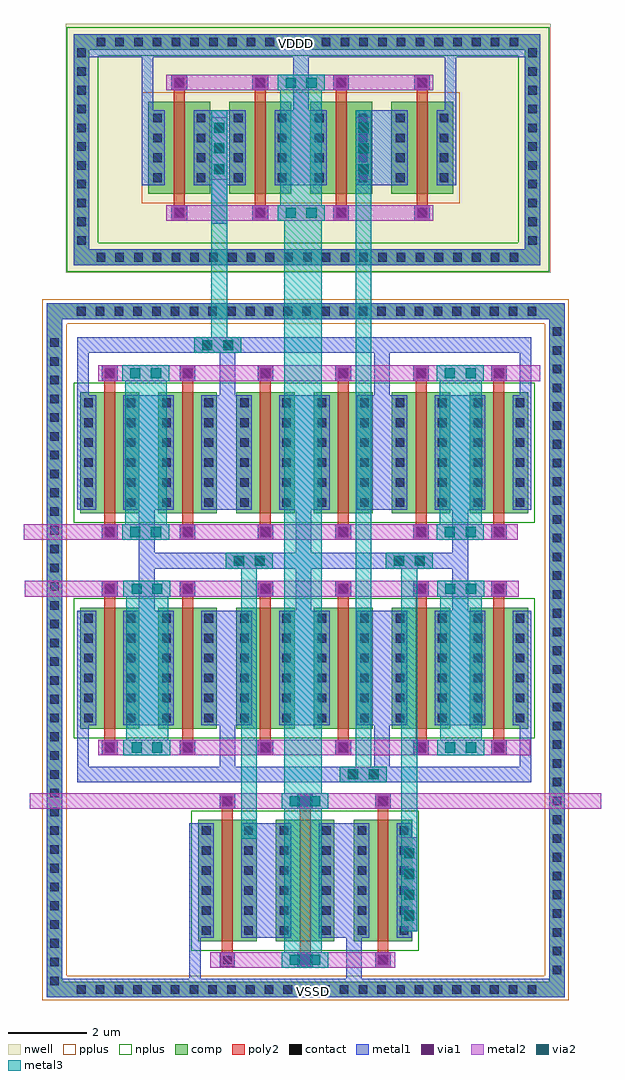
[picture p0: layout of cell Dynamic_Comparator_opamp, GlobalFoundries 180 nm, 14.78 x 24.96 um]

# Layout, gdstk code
import gdstk
lib = gdstk.Library(unit=1e-6, precision=1e-09)
def R(c, l, rs):  # rectangles x0, y0, x1, y1
    for r in rs: c.add(gdstk.rectangle(r[:2], r[2:], *l))
def A(c, l, x, y, w, h, nx, ny, dx, dy):  # array of equal rectangles
    R(c, l, [(x+i*dx, y+j*dy, x+i*dx+w, y+j*dy+h) for i in range(nx) for j in range(ny)])
def P(c, l, *ps):  # polygons
    for p in ps: c.add(gdstk.Polygon(p, *l))
nwell = (21, 0)
comp = (22, 0)
poly2 = (30, 0)
pplus = (31, 0)
nplus = (32, 0)
contact = (33, 0)
metal1 = (34, 0)
via1 = (35, 0)
metal2 = (36, 0)
via2 = (38, 0)
metal3 = (42, 0)

nfet_1 = lib.new_cell('nfet$1')
R(nfet_1, comp, [(-0.42,0,0,3.1), (0,0,0.66,3.1), (0.66,0,1.08,3.1)])
R(nfet_1, poly2, [(0.15,-0.66,0.51,-0.3), (0.19,-0.3,0.47,3.4), (0.15,3.4,0.51,3.76)])
R(nfet_1, nplus, [(-0.59,-0.24,1.25,3.34)])
A(nfet_1, contact, -0.32, 0.165, 0.22, 0.22, 1, 6, 0, 0.51)
A(nfet_1, contact, 0.76, 0.165, 0.22, 0.22, 1, 6, 0, 0.51)
R(nfet_1, contact, [(0.22,-0.59,0.44,-0.37), (0.22,3.47,0.44,3.69)])
R(nfet_1, metal1, [(0.14,-0.671,0.52,-0.289), (-0.4,0.085,-0.02,3.015), (0.68,0.085,1.06,3.015), (0.14,3.389,0.52,3.771)])

pfet_1 = lib.new_cell('pfet$1')
R(pfet_1, nwell, [(-0.9,-0.44,1.56,2.79)])
R(pfet_1, comp, [(-0.46,0,0,2.35), (0,0,0.66,2.35), (0.66,0,1.12,2.35)])
R(pfet_1, poly2, [(0.14,-0.68,0.52,-0.3), (0.19,-0.3,0.47,2.65), (0.14,2.65,0.52,3.03)])
R(pfet_1, pplus, [(-0.63,-0.24,1.29,2.59)])
A(pfet_1, contact, -0.34, 0.3, 0.22, 0.22, 1, 4, 0, 0.51)
A(pfet_1, contact, 0.78, 0.3, 0.22, 0.22, 1, 4, 0, 0.51)
R(pfet_1, contact, [(0.22,-0.6,0.44,-0.38), (0.22,2.73,0.44,2.95)])
R(pfet_1, metal1, [(0.14,-0.681,0.52,-0.299), (-0.42,0.22,-0.04,2.13), (0.7,0.22,1.08,2.13), (0.14,2.649,0.52,3.031)])

via_dev_2 = lib.new_cell('via_dev$2')
R(via_dev_2, poly2, [(0,0,0.4,0.4)])
R(via_dev_2, contact, [(0.09,0.09,0.31,0.31)])
R(via_dev_2, metal1, [(0,0,0.4,0.4)])
R(via_dev_2, via1, [(0.07,0.07,0.33,0.33)])
R(via_dev_2, metal2, [(0,0,0.4,0.4)])

via_dev_3 = lib.new_cell('via_dev$3')
R(via_dev_3, metal2, [(0,0,1.2,0.4)])
R(via_dev_3, via2, [(0.205,0.07,0.465,0.33), (0.735,0.07,0.995,0.33)])
R(via_dev_3, metal3, [(0,0,1.2,0.4)])

via_dev_4 = lib.new_cell('via_dev$4')
R(via_dev_4, comp, [(0,0,12,0.4)])
A(via_dev_4, contact, 0.13, 0.09, 0.22, 0.22, 25, 1, 0.48, 0)
R(via_dev_4, metal1, [(0,0,12,0.4)])

via_dev_5 = lib.new_cell('via_dev$5')
R(via_dev_5, comp, [(0,0,11.15,0.4)])
A(via_dev_5, contact, 0.185, 0.09, 0.22, 0.22, 23, 1, 0.48, 0)
R(via_dev_5, metal1, [(0,0,11.15,0.4)])

via_dev_6 = lib.new_cell('via_dev$6')
R(via_dev_6, metal1, [(0,0,0.4,1.6)])
A(via_dev_6, via1, 0.07, 0.14, 0.26, 0.26, 1, 3, 0, 0.53)
R(via_dev_6, metal2, [(0,0,0.4,1.6)])
A(via_dev_6, via2, 0.07, 0.14, 0.26, 0.26, 1, 3, 0, 0.53)
R(via_dev_6, metal3, [(0,0,0.4,1.6)])

via_dev_7 = lib.new_cell('via_dev$7')
R(via_dev_7, comp, [(0,0,0.4,17)])
A(via_dev_7, contact, 0.09, 0.23, 0.22, 0.22, 1, 35, 0, 0.48)
R(via_dev_7, metal1, [(0,0,0.4,17)])

via_dev_8 = lib.new_cell('via_dev$8')
R(via_dev_8, metal1, [(0,0,0.4,2.4)])
A(via_dev_8, via1, 0.07, 0.275, 0.26, 0.26, 1, 4, 0, 0.53)
R(via_dev_8, metal2, [(0,0,0.4,2.4)])
A(via_dev_8, via2, 0.07, 0.275, 0.26, 0.26, 1, 4, 0, 0.53)
R(via_dev_8, metal3, [(0,0,0.4,2.4)])

via_dev_9 = lib.new_cell('via_dev$9')
R(via_dev_9, metal1, [(0,0,1.2,0.4)])
R(via_dev_9, via1, [(0.205,0.07,0.465,0.33), (0.735,0.07,0.995,0.33)])
R(via_dev_9, metal2, [(0,0,1.2,0.4)])
R(via_dev_9, via2, [(0.205,0.07,0.465,0.33), (0.735,0.07,0.995,0.33)])
R(via_dev_9, metal3, [(0,0,1.2,0.4)])

via_dev_10 = lib.new_cell('via_dev$10')
R(via_dev_10, comp, [(0,0,0.4,5.5)])
A(via_dev_10, contact, 0.09, 0.24, 0.22, 0.22, 1, 11, 0, 0.48)
R(via_dev_10, metal1, [(0,0,0.4,5.5)])

dynamic_comparator_opamp = lib.new_cell('Dynamic_Comparator_opamp')
R(dynamic_comparator_opamp, nwell, [(-1.585,6.52,10.82,12.885)])
R(dynamic_comparator_opamp, comp, [(-2.065,-12,-1.365,-11.6), (10.52,-12,11.18,-11.6), (10.78,-11.99,11.18,-11.41), (-2.065,5.07,-1.665,5.65), (10.78,5.07,11.18,5.65), (-2.065,5.34,-1.36,5.74), (10.52,5.34,11.18,5.74), (-1.38,6.72,-0.9,7.12), (10.14,6.72,10.555,7.12), (10.085,12.485,10.555,12.625), (-1.38,12.5,-0.97,12.625)])
R(dynamic_comparator_opamp, pplus, [(-2.18,-12.07,-1.56,5.845), (-2.16,-12.07,11.285,-11.45), (10.665,-12.07,11.285,5.69), (-2.16,5.225,11.285,5.845), (0.36,8.305,8.49,11.135)])
R(dynamic_comparator_opamp, nplus, [(1.63,-10.805,7.45,-7.225), (-1.375,-5.375,10.415,-1.795), (-1.375,0.135,10.415,3.715), (-1.55,6.55,-0.75,12.805), (-1.46,6.55,10.28,7.29), (9.985,6.55,10.785,12.805), (-1.305,12.075,9.995,12.805)])
A(dynamic_comparator_opamp, metal1, 2.035, -5.05, 0.975, 2.93, 3, 2, 1.99, 5.51)
R(dynamic_comparator_opamp, metal1, [(-2.065,-12,-1.355,-11.6), (-2.065,-12,11.18,-11.525), (10.475,-12,11.18,-11.6), (5.59,-11.9,5.99,-8.84), (1.58,-11.76,1.87,-7.55), (3.035,-10.48,4.01,-7.55), (5.04,-10.48,6.015,-7.55), (-1.285,-6.5,10.32,-6.1), (-1.285,-6.33,-0.995,-2.12), (10.03,-6.33,10.32,-2.12), (2.355,-6.32,2.755,-3.26), (6.3,-6.32,6.7,-3.26), (-0.01,-5.05,0.965,-2.12), (0.025,-5.05,1,-2.12), (8.01,-5.05,8.985,-2.12), (8.01,-5.05,8.985,-2.12), (0.29,-2.39,0.69,0.67), (4.3,-2.39,4.7,0.715), (8.305,-2.39,8.705,0.705), (0.29,-1.04,8.705,-0.64), (-1.285,0.46,-0.995,4.67), (-0.045,0.46,0.93,3.39), (0.025,0.46,1,3.39), (8,0.46,8.975,3.39), (8.01,0.46,8.985,3.39), (10.03,0.46,10.32,4.67), (2.355,1.62,2.755,4.68), (6.3,1.645,6.7,4.705), (-1.285,4.475,10.32,4.875), (-2.065,5.035,-1.665,5.74), (-2.065,5.34,-1.415,5.74), (10.555,5.34,11.18,5.74), (-1.38,6.72,-0.9,7.12), (10.14,6.72,10.555,7.12), (2.145,7.78,2.545,10.635), (0.365,8.765,0.655,12.545), (1.905,8.765,2.88,10.675), (3.93,8.765,4.905,10.675), (6.01,8.765,6.985,10.675), (8.11,8.765,8.4,12.545), (4.235,8.995,4.635,12.49), (-1.38,12.035,10.555,12.625), (10.095,12.49,10.555,12.625), (-1.38,12.495,-0.975,12.625)])
R(dynamic_comparator_opamp, metal2, [(2.115,-11.245,6.84,-10.845), (-0.755,-5.815,10.3,-5.415), (-2.63,-1.755,10.005,-1.355), (-2.66,-0.305,9.98,0.095), (-0.755,3.755,10.55,4.155), (0.99,7.855,7.82,8.255), (0.99,11.185,7.82,11.585)])
P(dynamic_comparator_opamp, metal2, [(-2.5,-7.185),(-2.5,-6.99),(-2.5,-6.785),(12.115,-6.785),(12.115,-7.185)])
R(dynamic_comparator_opamp, metal3, [(4.01,-11.11,4.97,8.465), (2.9,-7.945,3.3,-0.695), (7,-7.945,7.4,-0.695), (5.83,-6.415,6.23,10.675), (-0.03,-5.69,1.04,-1.515), (7.99,-5.69,9.06,-1.515), (-0.065,-0.155,1.005,4.02), (7.98,-0.155,9.05,4.02), (2.145,4.49,2.545,10.675), (3.9,8.055,4.97,11.415)])
dynamic_comparator_opamp.add(gdstk.Reference(nfet_1, (7.175,-5.135)))
dynamic_comparator_opamp.add(gdstk.Reference(nfet_1, (9.165,-5.135)))
dynamic_comparator_opamp.add(gdstk.Reference(nfet_1, (7.175,0.375)))
dynamic_comparator_opamp.add(gdstk.Reference(pfet_1, (0.99,8.545)))
dynamic_comparator_opamp.add(gdstk.Reference(pfet_1, (3.06,8.545)))
dynamic_comparator_opamp.add(gdstk.Reference(nfet_1, (1.205,0.375)))
dynamic_comparator_opamp.add(gdstk.Reference(nfet_1, (3.195,0.375)))
dynamic_comparator_opamp.add(gdstk.Reference(nfet_1, (1.205,-5.135)))
dynamic_comparator_opamp.add(gdstk.Reference(nfet_1, (3.195,-5.135)))
dynamic_comparator_opamp.add(gdstk.Reference(nfet_1, (5.185,-5.135)))
dynamic_comparator_opamp.add(gdstk.Reference(nfet_1, (5.185,0.375)))
dynamic_comparator_opamp.add(gdstk.Reference(via_dev_2, (-0.655,3.755)))
dynamic_comparator_opamp.add(gdstk.Reference(via_dev_2, (1.335,3.755)))
dynamic_comparator_opamp.add(gdstk.Reference(via_dev_2, (3.325,3.755)))
dynamic_comparator_opamp.add(gdstk.Reference(via_dev_2, (5.315,3.755)))
dynamic_comparator_opamp.add(gdstk.Reference(via_dev_2, (7.305,3.755)))
dynamic_comparator_opamp.add(gdstk.Reference(via_dev_2, (9.295,3.755)))
dynamic_comparator_opamp.add(gdstk.Reference(via_dev_2, (-0.655,-0.305)))
dynamic_comparator_opamp.add(gdstk.Reference(via_dev_2, (-0.655,-1.755)))
dynamic_comparator_opamp.add(gdstk.Reference(via_dev_2, (1.335,-1.755)))
dynamic_comparator_opamp.add(gdstk.Reference(via_dev_2, (3.325,-1.755)))
dynamic_comparator_opamp.add(gdstk.Reference(via_dev_2, (5.315,-1.755)))
dynamic_comparator_opamp.add(gdstk.Reference(via_dev_2, (7.305,-1.755)))
dynamic_comparator_opamp.add(gdstk.Reference(via_dev_2, (9.295,-1.755)))
dynamic_comparator_opamp.add(gdstk.Reference(nfet_1, (2.22,-10.565)))
dynamic_comparator_opamp.add(gdstk.Reference(nfet_1, (4.21,-10.565)))
dynamic_comparator_opamp.add(gdstk.Reference(nfet_1, (6.2,-10.565)))
dynamic_comparator_opamp.add(gdstk.Reference(via_dev_2, (-0.655,-5.815)))
dynamic_comparator_opamp.add(gdstk.Reference(via_dev_2, (1.335,-5.815)))
dynamic_comparator_opamp.add(gdstk.Reference(via_dev_2, (3.325,-5.815)))
dynamic_comparator_opamp.add(gdstk.Reference(via_dev_2, (5.315,-5.815)))
dynamic_comparator_opamp.add(gdstk.Reference(via_dev_2, (7.305,-5.815)))
dynamic_comparator_opamp.add(gdstk.Reference(via_dev_2, (9.295,-5.815)))
dynamic_comparator_opamp.add(gdstk.Reference(via_dev_2, (1.335,-0.305)))
dynamic_comparator_opamp.add(gdstk.Reference(via_dev_2, (3.325,-0.305)))
dynamic_comparator_opamp.add(gdstk.Reference(via_dev_2, (5.315,-0.305)))
dynamic_comparator_opamp.add(gdstk.Reference(via_dev_2, (7.305,-0.305)))
dynamic_comparator_opamp.add(gdstk.Reference(via_dev_2, (9.295,-0.305)))
dynamic_comparator_opamp.add(gdstk.Reference(nfet_1, (-0.785,0.375)))
dynamic_comparator_opamp.add(gdstk.Reference(nfet_1, (-0.785,-5.135)))
dynamic_comparator_opamp.add(gdstk.Reference(nfet_1, (9.165,0.375)))
dynamic_comparator_opamp.add(gdstk.Reference(via_dev_3, (-0.105,-1.755)))
dynamic_comparator_opamp.add(gdstk.Reference(via_dev_3, (-0.105,-5.815)))
dynamic_comparator_opamp.add(gdstk.Reference(via_dev_3, (7.905,-0.305)))
dynamic_comparator_opamp.add(gdstk.Reference(via_dev_3, (7.905,3.755)))
dynamic_comparator_opamp.add(gdstk.Reference(via_dev_4, (-1.425,5.34)))
dynamic_comparator_opamp.add(gdstk.Reference(via_dev_5, (-0.98,12.225)))
dynamic_comparator_opamp.add(gdstk.Reference(via_dev_6, (5.83,8.905)))
dynamic_comparator_opamp.add(gdstk.Reference(via_dev_7, (10.78,-11.64)))
dynamic_comparator_opamp.add(gdstk.Reference(via_dev_7, (-2.065,-11.92)))
dynamic_comparator_opamp.add(gdstk.Reference(via_dev_4, (-1.425,-12)))
dynamic_comparator_opamp.add(gdstk.Reference(via_dev_2, (2.35,-7.185)))
dynamic_comparator_opamp.add(gdstk.Reference(via_dev_2, (4.34,-7.185)))
dynamic_comparator_opamp.add(gdstk.Reference(via_dev_2, (6.33,-7.185)))
dynamic_comparator_opamp.add(gdstk.Reference(via_dev_2, (4.34,-11.245)))
dynamic_comparator_opamp.add(gdstk.Reference(via_dev_2, (6.33,-11.245)))
dynamic_comparator_opamp.add(gdstk.Reference(via_dev_3, (3.935,-7.185)))
dynamic_comparator_opamp.add(gdstk.Reference(via_dev_3, (3.935,-11.245)))
dynamic_comparator_opamp.add(gdstk.Reference(via_dev_8, (7,-10.315)))
dynamic_comparator_opamp.add(gdstk.Reference(via_dev_9, (2.515,-1.04)))
dynamic_comparator_opamp.add(gdstk.Reference(via_dev_9, (6.605,-1.04)))
dynamic_comparator_opamp.add(gdstk.Reference(via_dev_2, (1.12,7.855)))
dynamic_comparator_opamp.add(gdstk.Reference(via_dev_2, (3.19,7.855)))
dynamic_comparator_opamp.add(gdstk.Reference(via_dev_2, (1.12,11.185)))
dynamic_comparator_opamp.add(gdstk.Reference(via_dev_2, (3.19,11.185)))
dynamic_comparator_opamp.add(gdstk.Reference(via_dev_2, (7.33,11.185)))
dynamic_comparator_opamp.add(gdstk.Reference(via_dev_2, (5.26,11.185)))
dynamic_comparator_opamp.add(gdstk.Reference(via_dev_2, (7.33,7.855)))
dynamic_comparator_opamp.add(gdstk.Reference(via_dev_2, (5.26,7.855)))
dynamic_comparator_opamp.add(gdstk.Reference(pfet_1, (7.2,8.545)))
dynamic_comparator_opamp.add(gdstk.Reference(pfet_1, (5.13,8.545)))
dynamic_comparator_opamp.add(gdstk.Reference(via_dev_6, (2.145,8.905)))
dynamic_comparator_opamp.add(gdstk.Reference(via_dev_3, (3.835,7.855)))
dynamic_comparator_opamp.add(gdstk.Reference(via_dev_3, (3.835,11.185)))
dynamic_comparator_opamp.add(gdstk.Reference(via_dev_5, (-0.98,6.72)))
dynamic_comparator_opamp.add(gdstk.Reference(via_dev_10, (10.155,7)))
dynamic_comparator_opamp.add(gdstk.Reference(via_dev_10, (-1.38,7)))
dynamic_comparator_opamp.add(gdstk.Reference(via_dev_3, (7.915,-1.755)))
dynamic_comparator_opamp.add(gdstk.Reference(via_dev_3, (7.915,-5.815)))
dynamic_comparator_opamp.add(gdstk.Reference(via_dev_3, (-0.14,-0.305)))
dynamic_comparator_opamp.add(gdstk.Reference(via_dev_3, (-0.14,3.755)))
dynamic_comparator_opamp.add(gdstk.Reference(via_dev_9, (1.705,4.475)))
dynamic_comparator_opamp.add(gdstk.Reference(via_dev_9, (5.43,-6.5)))
dynamic_comparator_opamp.add(gdstk.Label('VDDD', (4.315,12.39), layer=34, texttype=10))
dynamic_comparator_opamp.add(gdstk.Label('VSSD', (4.765,-11.845), layer=34, texttype=10))

lib.write_gds('Dynamic_Comparator_opamp.gds')
